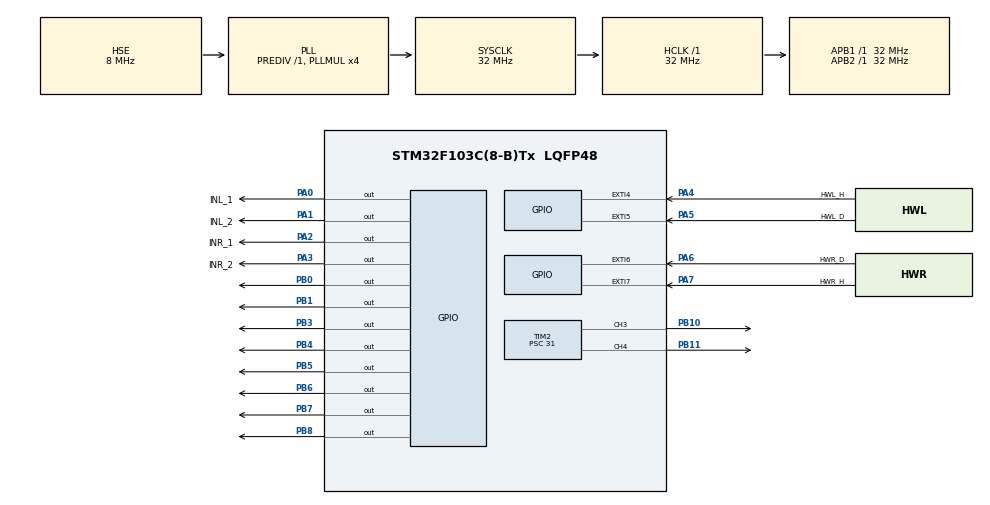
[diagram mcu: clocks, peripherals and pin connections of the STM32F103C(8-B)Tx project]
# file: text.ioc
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Mcu.Family=STM32F1
Mcu.Name=STM32F103C(8-B)Tx
Mcu.Package=LQFP48
NVIC.EXTI4_IRQn=true\:0\:0\:false\:false\:true\:true\:true
NVIC.EXTI9_5_IRQn=true\:0\:0\:false\:false\:true\:true\:true
NVIC.PriorityGroup=NVIC_PRIORITYGROUP_4
NVIC.TIM2_IRQn=true\:0\:0\:false\:false\:true\:true\:true
PA0-WKUP.GPIO_Label=INL_1
PA0-WKUP.PinState=GPIO_PIN_SET
PA0-WKUP.Signal=GPIO_Output
PA1.GPIO_Label=INL_2
PA1.Signal=GPIO_Output
PA13.Mode=Serial_Wire
PA13.Signal=SYS_JTMS-SWDIO
PA14.Mode=Serial_Wire
PA14.Signal=SYS_JTCK-SWCLK
PA2.GPIO_Label=INR_1
PA2.PinState=GPIO_PIN_SET
PA2.Signal=GPIO_Output
PA3.GPIO_Label=INR_2
PA3.Signal=GPIO_Output
PA4.GPIO_Label=HWL_H
PA4.GPIO_ModeDefaultEXTI=GPIO_MODE_IT_FALLING
PA4.GPIO_PuPd=GPIO_NOPULL
PA4.Signal=GPXTI4
PA5.GPIO_Label=HWL_D
PA5.GPIO_ModeDefaultEXTI=GPIO_MODE_IT_FALLING
PA5.GPIO_PuPd=GPIO_PULLUP
PA5.Signal=GPXTI5
PA6.GPIO_Label=HWR_D
PA6.GPIO_ModeDefaultEXTI=GPIO_MODE_IT_FALLING
PA6.GPIO_PuPd=GPIO_NOPULL
PA6.Signal=GPXTI6
PA7.GPIO_Label=HWR_H
PA7.GPIO_ModeDefaultEXTI=GPIO_MODE_IT_FALLING
PA7.GPIO_PuPd=GPIO_PULLDOWN
PA7.Signal=GPXTI7
PB0.PinState=GPIO_PIN_SET
PB0.Signal=GPIO_Output
PB1.PinState=GPIO_PIN_SET
PB1.Signal=GPIO_Output
PB10.Signal=S_TIM2_CH3
PB11.Signal=S_TIM2_CH4
PB3.PinState=GPIO_PIN_SET
PB3.Signal=GPIO_Output
PB4.PinState=GPIO_PIN_SET
PB4.Signal=GPIO_Output
PB5.Signal=GPIO_Output
PB6.Signal=GPIO_Output
PB7.Signal=GPIO_Output
PB8.Signal=GPIO_Output
PC14-OSC32_IN.Mode=LSE-External-Oscillator
PC14-OSC32_IN.Signal=RCC_OSC32_IN
PC15-OSC32_OUT.Mode=LSE-External-Oscillator
PC15-OSC32_OUT.Signal=RCC_OSC32_OUT
PD0-OSC_IN.Mode=HSE-External-Oscillator
PD0-OSC_IN.Signal=RCC_OSC_IN
PD1-OSC_OUT.Mode=HSE-External-Oscillator
PD1-OSC_OUT.Signal=RCC_OSC_OUT
ProjectManager.HeapSize=0x200
ProjectManager.StackSize=0x400
ProjectManager.TargetToolchain=MDK-ARM V5.27
RCC.AHBFreq_Value=32000000
RCC.APB1Freq_Value=32000000
RCC.APB1TimFreq_Value=32000000
RCC.APB2Freq_Value=32000000
RCC.APB2TimFreq_Value=32000000
RCC.HCLKFreq_Value=32000000
RCC.PLLMUL=RCC_PLL_MUL4
RCC.PLLSourceVirtual=RCC_PLLSOURCE_HSE
RCC.SYSCLKFreq_VALUE=32000000
RCC.SYSCLKSource=RCC_SYSCLKSOURCE_PLLCLK
RCC.USBFreq_Value=32000000
SH.S_TIM2_CH3.0=TIM2_CH3,PWM Generation3 CH3
SH.S_TIM2_CH4.0=TIM2_CH4,PWM Generation4 CH4
TIM2.AutoReloadPreload=TIM_AUTORELOAD_PRELOAD_ENABLE
TIM2.Channel-PWM\ Generation3\ CH3=TIM_CHANNEL_3
TIM2.Channel-PWM\ Generation4\ CH4=TIM_CHANNEL_4
TIM2.Period=499
TIM2.Prescaler=31
TIM2.TIM_MasterOutputTrigger=TIM_TRGO_RESET
VP_TIM2_VS_ClockSourceINT.Mode=Internal
board=custom

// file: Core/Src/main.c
/* USER CODE BEGIN Header */
/**
  ******************************************************************************
  * @file           : main.c
  * @brief          : Main program body
  ******************************************************************************
  * @attention
  *
  * <h2><center>&copy; Copyright (c) 2020 STMicroelectronics.
  * All rights reserved.</center></h2>
  *
  * This software component is licensed by ST under BSD 3-Clause license,
  * the "License"; You may not use this file except in compliance with the
  * License. You may obtain a copy of the License at:
  *                        opensource.org/licenses/BSD-3-Clause
  *
  ******************************************************************************
  */
/* USER CODE END Header */
#include "main.h"
#include "tim.h"
#include "gpio.h"

/* USER CODE BEGIN PTD */

uint16_t PWML=500;
uint16_t PWMR=500;

/* USER CODE END PTD */

void SystemClock_Config(void);

/* USER CODE BEGIN 0 */

/*中断回调函数：接受红外信号，纠正路线，使用switch选择语句判断偏离路线*/
/*搭配if语句配置左右电机PWM，并判断是否纠正路线完毕，完毕则摆正路线*/
void HAL_GPIO_EXTI_Callback(uint16_t GPIO_Pin)
{
	switch(GPIO_Pin)
	{
		case HWL_H_Pin:
				PWML=100;
		__HAL_TIM_SET_COMPARE(&htim2,TIM_CHANNEL_3,PWML);
		while(HAL_GPIO_ReadPin(GPIOA,HWL_H_Pin)==0);
		break;

		case HWL_D_Pin:
				PWML=300;
		__HAL_TIM_SET_COMPARE(&htim2,TIM_CHANNEL_3,PWML);
    while(HAL_GPIO_ReadPin(GPIOA,HWL_D_Pin)==0);
		break;

		case HWR_H_Pin:
				PWMR=100;
		__HAL_TIM_SET_COMPARE(&htim2,TIM_CHANNEL_4,PWMR);
    while(HAL_GPIO_ReadPin(GPIOA,HWR_H_Pin)==0);
		break;

		case HWR_D_Pin:
				PWMR=300;
		__HAL_TIM_SET_COMPARE(&htim2,TIM_CHANNEL_4,PWMR);
    while(HAL_GPIO_ReadPin(GPIOA,HWR_D_Pin)==0);
		break;
	}

	PWML=500;
	PWMR=500;
	__HAL_TIM_SET_COMPARE(&htim2,TIM_CHANNEL_3,PWML);
	__HAL_TIM_SET_COMPARE(&htim2,TIM_CHANNEL_4,PWMR);
}

/* USER CODE END 0 */

int main(void)
{

  /* MCU Configuration--------------------------------------------------------*/

  /* Reset of all peripherals, Initializes the Flash interface and the Systick. */
  HAL_Init();

  /* Configure the system clock */
  SystemClock_Config();

  /* Initialize all configured peripherals */
  MX_GPIO_Init();
  MX_TIM2_Init();
  /* USER CODE BEGIN 2 */

	HAL_TIM_PWM_Start(&htim2,TIM_CHANNEL_3);
	HAL_TIM_PWM_Start(&htim2,TIM_CHANNEL_4);

		PWML=500;
		PWMR=500;
		__HAL_TIM_SET_COMPARE(&htim2,TIM_CHANNEL_3,PWML);
		__HAL_TIM_SET_COMPARE(&htim2,TIM_CHANNEL_4,PWMR);
  /* USER CODE END 2 */

  /* Infinite loop */
  while (1)
  {

  }
}

void SystemClock_Config(void)
{
  RCC_OscInitTypeDef RCC_OscInitStruct = {0};
  RCC_ClkInitTypeDef RCC_ClkInitStruct = {0};

  /** Initializes the RCC Oscillators according to the specified parameters
  * in the RCC_OscInitTypeDef structure.
  */
  RCC_OscInitStruct.OscillatorType = RCC_OSCILLATORTYPE_HSE;
  RCC_OscInitStruct.HSEState = RCC_HSE_ON;
  RCC_OscInitStruct.HSEPredivValue = RCC_HSE_PREDIV_DIV1;
  RCC_OscInitStruct.HSIState = RCC_HSI_ON;
  RCC_OscInitStruct.PLL.PLLState = RCC_PLL_ON;
  RCC_OscInitStruct.PLL.PLLSource = RCC_PLLSOURCE_HSE;
  RCC_OscInitStruct.PLL.PLLMUL = RCC_PLL_MUL4;
  if (HAL_RCC_OscConfig(&RCC_OscInitStruct) != HAL_OK)
  {
    Error_Handler();
  }
  /** Initializes the CPU, AHB and APB buses clocks
  */
  RCC_ClkInitStruct.ClockType = RCC_CLOCKTYPE_HCLK|RCC_CLOCKTYPE_SYSCLK
                              |RCC_CLOCKTYPE_PCLK1|RCC_CLOCKTYPE_PCLK2;
  RCC_ClkInitStruct.SYSCLKSource = RCC_SYSCLKSOURCE_PLLCLK;
  RCC_ClkInitStruct.AHBCLKDivider = RCC_SYSCLK_DIV1;
  RCC_ClkInitStruct.APB1CLKDivider = RCC_HCLK_DIV1;
  RCC_ClkInitStruct.APB2CLKDivider = RCC_HCLK_DIV1;

  if (HAL_RCC_ClockConfig(&RCC_ClkInitStruct, FLASH_LATENCY_1) != HAL_OK)
  {
    Error_Handler();
  }
}

void Error_Handler(void)
{
}

/************************ (C) COPYRIGHT STMicroelectronics *****END OF FILE****/
